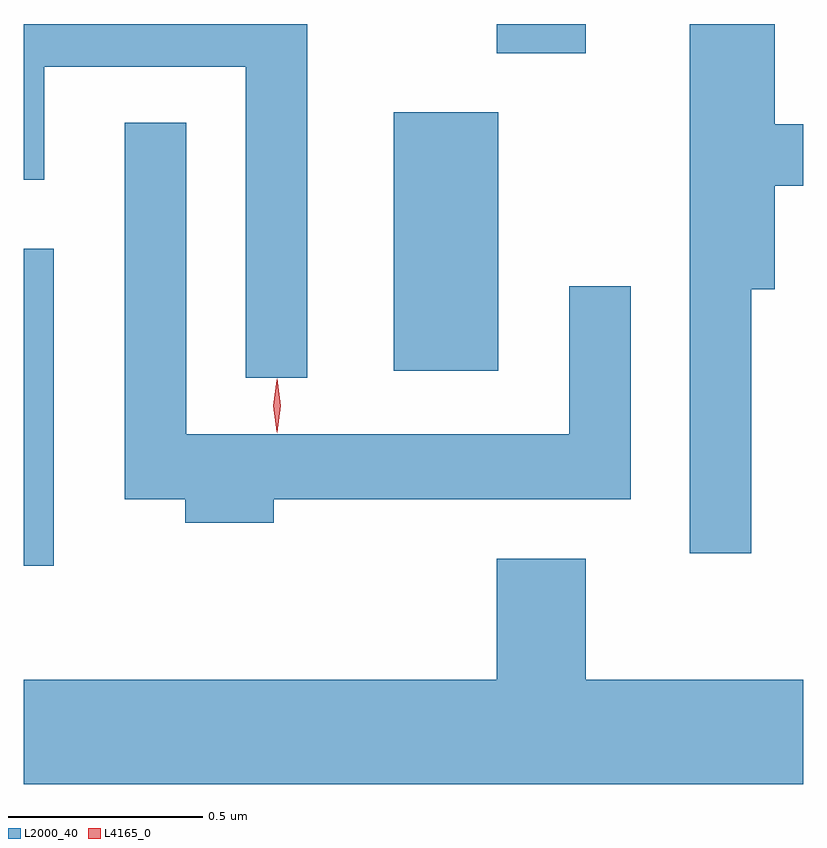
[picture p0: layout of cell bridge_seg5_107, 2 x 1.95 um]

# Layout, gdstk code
import gdstk
lib = gdstk.Library(unit=1e-6, precision=1e-09)
def R(c, l, rs):  # rectangles x0, y0, x1, y1
    for r in rs: c.add(gdstk.rectangle(r[:2], r[2:], *l))
def P(c, l, *ps):  # polygons
    for p in ps: c.add(gdstk.Polygon(p, *l))
L2000_40 = (2000, 40)
L4165_0 = (4165, 0)

bridge_seg5_107 = lib.new_cell('bridge_seg5_107')
R(bridge_seg5_107, L2000_40, [(1165.947,1503.976,1166.024,1504.789), (1166.896,1504.476,1167.164,1505.139), (1167.161,1505.291,1167.389,1505.366)])
P(bridge_seg5_107, L2000_40, [(1167.814,1504.686),(1167.874,1504.686),(1167.874,1504.951),(1167.947,1504.951),(1167.947,1505.109),(1167.874,1505.109),(1167.874,1505.366),(1167.656,1505.366),(1167.656,1504.008),(1167.814,1504.008)],
  [(1166.674,1505.366),(1165.947,1505.366),(1165.947,1504.966),(1165.999,1504.966),(1165.999,1505.256),(1166.516,1505.256),(1166.516,1504.458),(1166.674,1504.458)],
  [(1166.589,1504.146),(1167.504,1504.146),(1167.504,1504.693),(1167.346,1504.693),(1167.346,1504.314),(1166.364,1504.314),(1166.364,1505.113),(1166.206,1505.113),(1166.206,1504.146),(1166.361,1504.146),(1166.361,1504.086),(1166.589,1504.086)],
  [(1167.947,1503.684),(1167.389,1503.684),(1167.389,1503.994),(1167.161,1503.994),(1167.161,1503.684),(1165.947,1503.684),(1165.947,1503.416),(1167.947,1503.416)])
P(bridge_seg5_107, L4165_0, [(1166.597,1504.317),(1166.597,1504.318),(1166.587,1504.387),(1166.597,1504.456),(1166.597,1504.456),(1166.598,1504.456),(1166.607,1504.387),(1166.598,1504.318)],
  [(1166.596,1504.32),(1166.587,1504.386),(1166.596,1504.452),(1166.596,1504.453),(1166.597,1504.452),(1166.606,1504.386),(1166.597,1504.32),(1166.597,1504.32)])

lib.write_gds('bridge_seg5_107.gds')
